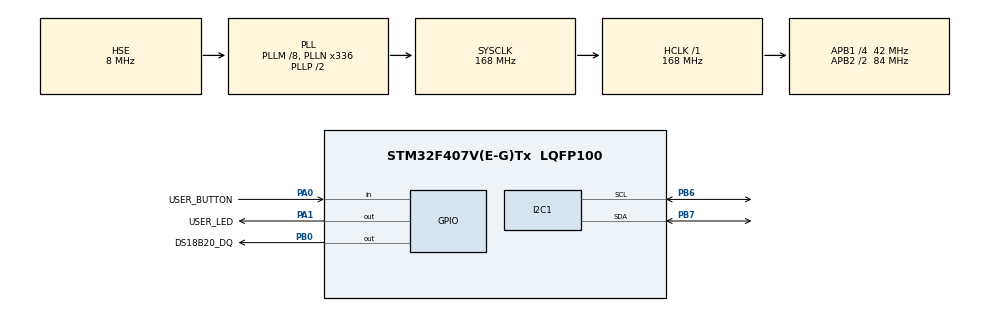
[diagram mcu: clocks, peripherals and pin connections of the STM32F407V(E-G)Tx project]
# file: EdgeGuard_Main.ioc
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Mcu.Family=STM32F4
Mcu.Name=STM32F407V(E-G)Tx
Mcu.Package=LQFP100
NVIC.PriorityGroup=NVIC_PRIORITYGROUP_4
PA0-WKUP.GPIO_Label=USER_BUTTON
PA0-WKUP.GPIO_PuPd=GPIO_PULLDOWN
PA0-WKUP.Signal=GPIO_Input
PA1.GPIO_Label=USER_LED
PA1.PinState=GPIO_PIN_SET
PA1.Signal=GPIO_Output
PA13.Mode=Serial_Wire
PA13.Signal=SYS_JTMS-SWDIO
PA14.Mode=Serial_Wire
PA14.Signal=SYS_JTCK-SWCLK
PB0.GPIO_Label=DS18B20_DQ
PB0.GPIO_ModeDefaultOutputPP=GPIO_MODE_OUTPUT_OD
PB0.GPIO_PuPd=GPIO_NOPULL
PB0.Signal=GPIO_Output
PB6.Mode=I2C
PB6.Signal=I2C1_SCL
PB7.Mode=I2C
PB7.Signal=I2C1_SDA
PH0-OSC_IN.Mode=HSE-External-Oscillator
PH0-OSC_IN.Signal=RCC_OSC_IN
PH1-OSC_OUT.Mode=HSE-External-Oscillator
PH1-OSC_OUT.Signal=RCC_OSC_OUT
ProjectManager.HeapSize=0x200
ProjectManager.StackSize=0x400
ProjectManager.TargetToolchain=STM32CubeIDE
RCC.48MHZClocksFreq_Value=84000000
RCC.AHBFreq_Value=168000000
RCC.APB1CLKDivider=RCC_HCLK_DIV4
RCC.APB1Freq_Value=42000000
RCC.APB1TimFreq_Value=84000000
RCC.APB2CLKDivider=RCC_HCLK_DIV2
RCC.APB2Freq_Value=84000000
RCC.APB2TimFreq_Value=168000000
RCC.CortexFreq_Value=168000000
RCC.HCLKFreq_Value=168000000
RCC.HSE_VALUE=8000000
RCC.HSI_VALUE=16000000
RCC.LSE_VALUE=32768
RCC.PLLM=8
RCC.PLLN=336
RCC.PLLSourceVirtual=RCC_PLLSOURCE_HSE
RCC.SYSCLKFreq_VALUE=168000000
RCC.SYSCLKSource=RCC_SYSCLKSOURCE_PLLCLK
RCC.VCOOutputFreq_Value=336000000
board=custom

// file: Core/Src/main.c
/* USER CODE BEGIN Header */
/**
  ******************************************************************************
  * @file           : main.c
  * @brief          : Main program body
  ******************************************************************************
  * @attention
  *
  * Copyright (c) 2026 STMicroelectronics.
  * All rights reserved.
  *
  * This software is licensed under terms that can be found in the LICENSE file
  * in the root directory of this software component.
  * If no LICENSE file comes with this software, it is provided AS-IS.
  *
  ******************************************************************************
  */
/* USER CODE END Header */
#include "main.h"
#include "i2c.h"
#include "gpio.h"

/* USER CODE BEGIN Includes */
#include "ds18b20.h"
#include "adxl345.h"
#include "ina219.h"
/* USER CODE END Includes */

/* USER CODE BEGIN PTD */
typedef enum
{
    FAN_NORMAL = 0,
    FAN_WARNING,
    FAN_STALL
} FanState;
/* USER CODE END PTD */

/* USER CODE BEGIN PV */
ADXL345_Data accel;
INA219_Data power_data;
FanState fan_state = FAN_NORMAL;
static uint8_t overcurrent_count = 0;
/* USER CODE END PV */

void SystemClock_Config(void);

int main(void)
{

  /* MCU Configuration--------------------------------------------------------*/

  /* Reset of all peripherals, Initializes the Flash interface and the Systick. */
  HAL_Init();

  /* Configure the system clock */
  SystemClock_Config();

  /* Initialize all configured peripherals */
  MX_GPIO_Init();
  MX_I2C1_Init();

  /* USER CODE BEGIN 2 */
  DS18B20_Init();
  if (INA219_Init() != HAL_OK)
  {
      Error_Handler();
  }
  /* USER CODE END 2 */

  /* Infinite loop */
  while (1)
  {

    /* USER CODE BEGIN 3 */
/*
  float temperature = DS18B20_ReadTemperature();

  if (temperature > 30.0f)
  {
	  HAL_GPIO_WritePin(USER_LED_GPIO_Port,
						USER_LED_Pin,
						GPIO_PIN_RESET);
  }
  else
  {
	  HAL_GPIO_WritePin(USER_LED_GPIO_Port,
						USER_LED_Pin,
						GPIO_PIN_SET);
  }

  HAL_Delay(500);
  }
*/
/*  if (ADXL345_ReadData(&accel) != HAL_OK)
  {
	  Error_Handler();
  }

  HAL_Delay(100);
*/
  if (INA219_ReadData(&power_data) != HAL_OK)
  {
	  Error_Handler();
  }

  if (power_data.current > 0.16f)
  {
      if (overcurrent_count < 5)
      {
          overcurrent_count++;
      }
  }
  else
  {
      overcurrent_count = 0;
  }

  if (overcurrent_count == 0)
  {
      fan_state = FAN_NORMAL;
  }
  else if (overcurrent_count < 5)
  {
      fan_state = FAN_WARNING;
  }
  else
  {
      fan_state = FAN_STALL;
  }

  if (fan_state == FAN_STALL)
  {
      HAL_GPIO_WritePin(USER_LED_GPIO_Port,
                        USER_LED_Pin,
                        GPIO_PIN_RESET);
  }
  else
  {
      HAL_GPIO_WritePin(USER_LED_GPIO_Port,
                        USER_LED_Pin,
                        GPIO_PIN_SET);
  }
  HAL_Delay(100);
  /* USER CODE END 3 */
  }
}
void SystemClock_Config(void)
{
  RCC_OscInitTypeDef RCC_OscInitStruct = {0};
  RCC_ClkInitTypeDef RCC_ClkInitStruct = {0};

  /** Configure the main internal regulator output voltage
  */
  __HAL_RCC_PWR_CLK_ENABLE();
  __HAL_PWR_VOLTAGESCALING_CONFIG(PWR_REGULATOR_VOLTAGE_SCALE1);

  /** Initializes the RCC Oscillators according to the specified parameters
  * in the RCC_OscInitTypeDef structure.
  */
  RCC_OscInitStruct.OscillatorType = RCC_OSCILLATORTYPE_HSE;
  RCC_OscInitStruct.HSEState = RCC_HSE_ON;
  RCC_OscInitStruct.PLL.PLLState = RCC_PLL_ON;
  RCC_OscInitStruct.PLL.PLLSource = RCC_PLLSOURCE_HSE;
  RCC_OscInitStruct.PLL.PLLM = 8;
  RCC_OscInitStruct.PLL.PLLN = 336;
  RCC_OscInitStruct.PLL.PLLP = RCC_PLLP_DIV2;
  RCC_OscInitStruct.PLL.PLLQ = 4;
  if (HAL_RCC_OscConfig(&RCC_OscInitStruct) != HAL_OK)
  {
    Error_Handler();
  }

  /** Initializes the CPU, AHB and APB buses clocks
  */
  RCC_ClkInitStruct.ClockType = RCC_CLOCKTYPE_HCLK|RCC_CLOCKTYPE_SYSCLK
                              |RCC_CLOCKTYPE_PCLK1|RCC_CLOCKTYPE_PCLK2;
  RCC_ClkInitStruct.SYSCLKSource = RCC_SYSCLKSOURCE_PLLCLK;
  RCC_ClkInitStruct.AHBCLKDivider = RCC_SYSCLK_DIV1;
  RCC_ClkInitStruct.APB1CLKDivider = RCC_HCLK_DIV4;
  RCC_ClkInitStruct.APB2CLKDivider = RCC_HCLK_DIV2;

  if (HAL_RCC_ClockConfig(&RCC_ClkInitStruct, FLASH_LATENCY_5) != HAL_OK)
  {
    Error_Handler();
  }
}

void Error_Handler(void)
{
  __disable_irq();
  while (1)
  {
  }
}
